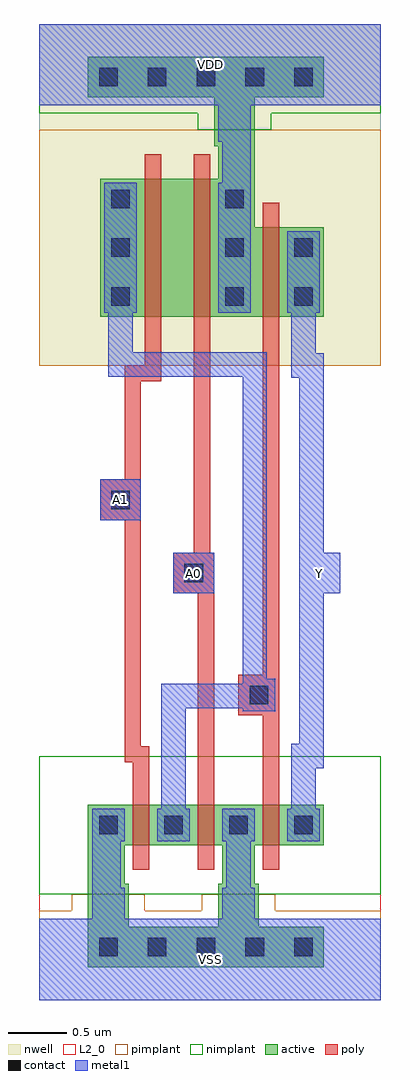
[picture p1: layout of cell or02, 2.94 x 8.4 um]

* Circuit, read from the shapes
.subckt or02 A0 A1 VDD VSS Y
M1 n1 A1 VSS VSS nfet w=0.35u l=0.14u
M2 VSS A0 n1 VSS nfet w=0.35u l=0.14u
M3 Y n1 VSS VSS nfet w=0.35u l=0.14u
M4 n2 A1 n1 VDD pfet w=1.19u l=0.14u
M5 VDD A0 n2 VDD pfet w=1.19u l=0.14u
M6 Y n1 VDD VDD pfet w=0.77u l=0.14u
.ends

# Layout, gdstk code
import gdstk
lib = gdstk.Library(unit=1e-6, precision=1e-09)
def R(c, l, rs):  # rectangles x0, y0, x1, y1
    for r in rs: c.add(gdstk.rectangle(r[:2], r[2:], *l))
def A(c, l, x, y, w, h, nx, ny, dx, dy):  # array of equal rectangles
    R(c, l, [(x+i*dx, y+j*dy, x+i*dx+w, y+j*dy+h) for i in range(nx) for j in range(ny)])
def P(c, l, *ps):  # polygons
    for p in ps: c.add(gdstk.Polygon(p, *l))
L2_0 = (2, 0)
nwell = (3, 0)
active = (6, 0)
poly = (17, 0)
pimplant = (25, 0)
nimplant = (26, 0)
contact = (30, 0)
metal1 = (31, 0)

adk_poly_m1 = lib.new_cell('ADK_poly_m1')
R(adk_poly_m1, poly, [(-0.175,-0.175,0.175,0.175)])
R(adk_poly_m1, contact, [(-0.08,-0.08,0.08,0.08)])
R(adk_poly_m1, metal1, [(-0.175,-0.175,0.175,0.175)])

or02 = lib.new_cell('or02')
R(or02, L2_0, [(0,0,2.94,2.1)])
R(or02, nwell, [(0,5.46,2.94,8.4)])
P(or02, nwell, [(2.87,5.46),(2.87,7.07),(2.275,7.07),(2.275,7.49),(0.105,7.49),(0.105,5.46)])
R(or02, active, [(0.42,0.28,2.45,0.63), (0.42,0.63,0.77,1), (1.54,0.63,1.89,1), (0.42,1,0.735,1.33), (1.575,1,1.855,1.33), (0.42,1.33,2.45,1.68), (0.42,1.33,0.805,1.68), (2.065,1.33,2.45,1.68), (0.525,5.88,0.91,7.07), (2.065,5.88,2.45,6.65), (1.54,7.07,1.855,7.35), (1.505,7.35,1.855,7.77), (0.42,7.77,2.45,8.12)])
P(or02, active, [(2.45,5.88),(2.45,6.65),(1.855,6.65),(1.855,7.07),(0.525,7.07),(0.525,5.88)])
A(or02, poly, 0.805, 1.12, 0.14, 0.21, 3, 2, 0.56, 0.56)
A(or02, poly, 0.805, 1.33, 0.14, 0.35, 3, 1, 0.56, 0)
R(or02, poly, [(1.365,1.855,1.505,3.5), (1.925,1.855,2.065,5.705), (1.715,2.45,2.065,2.8), (1.33,3.85,1.47,5.705), (0.91,5.67,1.05,5.88), (1.33,5.67,1.47,5.88), (1.925,5.67,2.065,5.88), (0.91,5.88,1.05,7.07), (1.33,5.88,1.47,7.07), (1.925,5.88,2.065,6.65), (1.925,6.65,2.065,6.86), (0.91,7.07,1.05,7.28), (1.33,7.07,1.47,7.28)])
P(or02, poly, [(0.735,2.045),(0.805,2.045),(0.805,1.75),(0.945,1.75),(0.945,2.185),(0.875,2.185),(0.875,5.325),(1.05,5.325),(1.05,5.81),(0.91,5.81),(0.91,5.465),(0.735,5.465)])
R(or02, pimplant, [(0,0,2.94,0.77), (0.28,0.77,0.91,0.91), (1.4,0.77,2.03,0.91), (0,5.46,2.94,7.49)])
R(or02, nimplant, [(0,0.91,2.94,2.1), (1.365,7.49,1.995,7.63), (0,7.63,2.94,8.4)])
A(or02, contact, 0.515, 0.375, 0.16, 0.16, 5, 2, 0.42, 7.49)
A(or02, contact, 0.515, 1.425, 0.16, 0.16, 4, 1, 0.56, 0)
A(or02, contact, 0.62, 5.975, 0.16, 0.16, 1, 3, 0, 0.42)
A(or02, contact, 1.6, 5.975, 0.16, 0.16, 1, 3, 0, 0.42)
R(or02, contact, [(1.81,2.545,1.97,2.705), (2.195,5.975,2.355,6.135), (2.195,6.395,2.355,6.555)])
A(or02, metal1, 0.455, 1.365, 0.28, 0.28, 4, 1, 0.56, 0)
R(or02, metal1, [(0,0,2.94,0.7), (0.455,0.7,0.735,0.965), (1.575,0.7,1.855,0.965), (0.455,0.965,0.7,1.365), (1.61,0.965,1.82,1.365), (1.05,1.645,1.26,2.52), (1.75,2.485,2.03,2.765), (1.155,3.5,1.505,3.85), (2.24,3.5,2.59,3.85), (2.24,3.5,2.59,3.85), (0.525,4.13,0.875,4.48), (0.56,5.915,0.84,7.035), (1.54,5.915,1.82,7.035), (2.135,5.915,2.415,6.615), (1.575,7.035,1.82,7.385), (1.54,7.385,1.82,7.7), (0,7.7,2.94,8.4)])
P(or02, metal1, [(2.17,1.645),(2.38,1.645),(2.38,1.995),(2.45,1.995),(2.45,3.5),(2.24,3.5),(2.24,2.205),(2.17,2.205)],
  [(2.17,5.355),(2.24,5.355),(2.24,3.85),(2.45,3.85),(2.45,5.565),(2.38,5.565),(2.38,5.915),(2.17,5.915)],
  [(0.595,5.365),(1.75,5.365),(1.75,2.72),(1.05,2.72),(1.05,2.31),(1.26,2.31),(1.26,2.51),(1.96,2.51),(1.96,5.575),(0.805,5.575),(0.805,6.125),(0.595,6.125)])
or02.add(gdstk.Reference(adk_poly_m1, (1.33,3.675)))
or02.add(gdstk.Reference(adk_poly_m1, (0.7,4.305)))
or02.add(gdstk.Label('VDD', (1.47,8.05), layer=131, texttype=0))
or02.add(gdstk.Label('VSS', (1.47,0.35), layer=131, texttype=0))
or02.add(gdstk.Label('Y', (2.415,3.675), layer=131, texttype=0))
or02.add(gdstk.Label('A0', (1.33,3.675), layer=131, texttype=0))
or02.add(gdstk.Label('A1', (0.7,4.305), layer=131, texttype=0))

lib.write_gds('or02.gds')
